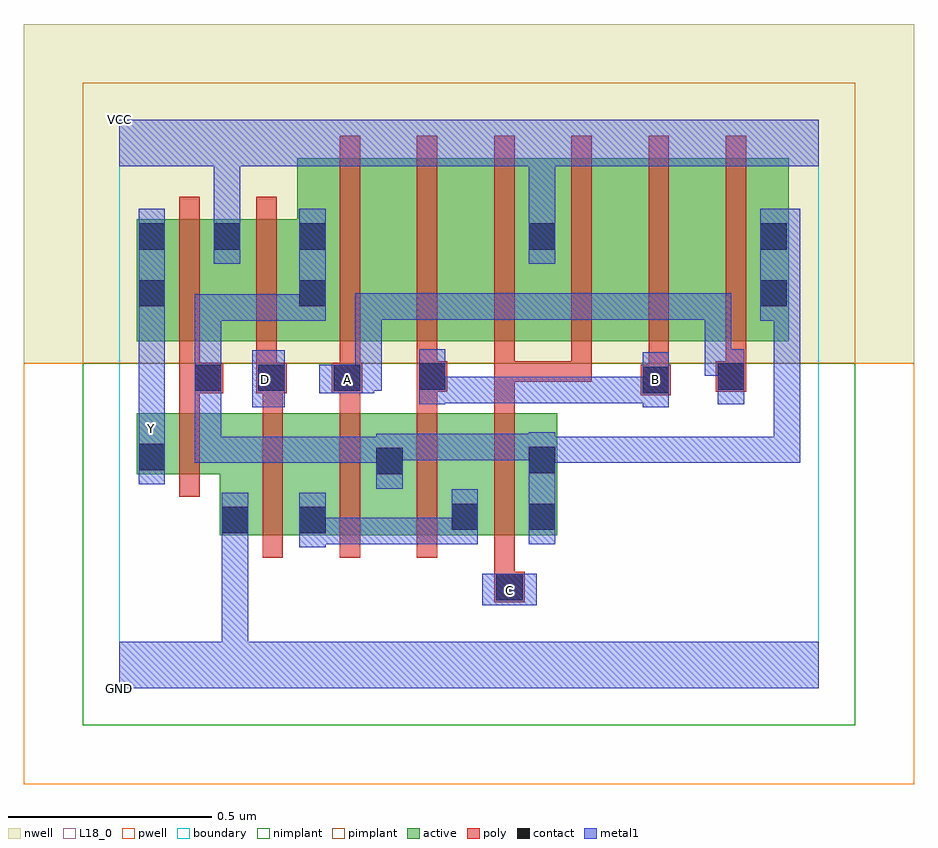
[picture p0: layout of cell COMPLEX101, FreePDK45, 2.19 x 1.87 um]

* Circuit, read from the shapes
.subckt COMPLEX101 A B C D GND VCC Y
M1 GND n1 Y VSUBS nfet w=0.15u l=0.05u
M2 n2 D GND VSUBS nfet w=0.3u l=0.05u
M3 n1 A n2 VSUBS nfet w=0.3u l=0.05u
M4 n2 B n1 VSUBS nfet w=0.3u l=0.05u
M5 n1 C n2 VSUBS nfet w=0.3u l=0.05u
M6 VCC n1 Y n3 pfet w=0.3u l=0.05u
M7 n1 D VCC n3 pfet w=0.3u l=0.05u
M8 n4 A n1 n3 pfet w=0.45u l=0.05u
M9 n5 B n4 n3 pfet w=0.45u l=0.05u
M10 VCC C n5 n3 pfet w=0.45u l=0.05u
M11 n6 C VCC n3 pfet w=0.45u l=0.05u
M12 n7 B n6 n3 pfet w=0.45u l=0.05u
M13 n1 A n7 n3 pfet w=0.45u l=0.05u
.ends

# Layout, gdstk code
import gdstk
lib = gdstk.Library(unit=1e-6, precision=1e-09)
def R(c, l, rs):  # rectangles x0, y0, x1, y1
    for r in rs: c.add(gdstk.rectangle(r[:2], r[2:], *l))
def A(c, l, x, y, w, h, nx, ny, dx, dy):  # array of equal rectangles
    R(c, l, [(x+i*dx, y+j*dy, x+i*dx+w, y+j*dy+h) for i in range(nx) for j in range(ny)])
active = (1, 0)
pwell = (2, 0)
nwell = (3, 0)
nimplant = (4, 0)
pimplant = (5, 0)
poly = (9, 0)
contact = (10, 0)
metal1 = (11, 0)
L18_0 = (18, 0)
boundary = (235, 0)

complex101 = lib.new_cell('COMPLEX101')
R(complex101, active, [(0.247,0.377,0.512,0.677), (0.247,0.377,0.322,0.677), (0.437,0.377,0.702,0.677), (0.437,0.377,0.512,0.547), (0.627,0.377,0.887,0.677), (0.812,0.377,1.077,0.677), (0.627,0.382,0.702,0.597), (0.812,0.385,0.887,0.547), (1.002,0.385,1.077,0.677), (0.042,0.527,0.322,0.677), (0.042,0.527,0.117,0.677), (0.042,0.855,0.302,1.155), (0.042,0.855,0.117,1.155), (0.227,0.855,0.512,1.155), (0.437,0.855,0.512,1.2), (0.437,0.855,0.662,1.305), (0.662,0.855,0.852,1.305), (0.852,0.855,1.077,1.305), (1.002,0.855,1.232,1.305), (1.232,0.855,1.422,1.305), (1.422,0.855,1.647,1.305), (1.572,0.855,1.647,1.2), (1.002,0.857,1.077,1.305), (0.227,1.007,0.302,1.155)])
R(complex101, pwell, [(-0.235,-0.235,1.955,0.8)])
R(complex101, nwell, [(-0.235,0.8,1.955,1.635)])
R(complex101, nimplant, [(-0.09,-0.09,1.81,0.8)])
R(complex101, pimplant, [(-0.09,0.8,1.81,1.49)])
A(complex101, poly, 0.352, 0.322, 0.05, 0.41, 4, 1, 0.19, 0)
A(complex101, poly, 0.732, 0.755, 0.05, 0.095, 3, 1, 0.19, 0)
A(complex101, poly, 0.542, 0.8, 0.05, 0.56, 6, 1, 0.19, 0)
R(complex101, poly, [(0.922,0.212,0.997,0.287), (0.922,0.237,0.972,0.372), (0.147,0.472,0.197,0.732), (0.147,0.682,0.197,0.777), (0.352,0.682,0.402,0.777), (0.542,0.682,0.592,0.777), (0.732,0.682,0.782,0.78), (0.922,0.682,0.972,0.805), (1.282,0.722,1.357,0.797), (0.147,0.727,0.255,0.802), (0.337,0.727,0.412,0.802), (0.522,0.727,0.597,0.802), (0.732,0.73,0.807,0.805), (1.467,0.73,1.542,0.805), (1.302,0.747,1.352,0.85), (0.147,0.752,0.197,0.85), (0.337,0.752,0.387,0.85), (0.542,0.752,0.592,0.85), (0.922,0.755,1.162,0.805), (0.922,0.755,0.972,0.805), (0.922,0.755,0.972,0.805), (0.922,0.755,0.972,0.805), (1.112,0.755,1.162,0.805), (1.492,0.755,1.542,0.85), (0.147,0.8,0.197,1.21), (0.337,0.8,0.387,1.21)])
R(complex101, contact, [(0.927,0.217,0.992,0.282), (0.252,0.382,0.317,0.447), (0.442,0.382,0.507,0.447), (0.817,0.39,0.882,0.455), (1.007,0.39,1.072,0.455), (0.632,0.527,0.697,0.592), (1.007,0.53,1.072,0.595), (0.047,0.537,0.112,0.602), (1.287,0.727,1.352,0.792), (0.185,0.732,0.25,0.797), (0.342,0.732,0.407,0.797), (0.527,0.732,0.592,0.797), (0.737,0.735,0.802,0.8), (1.472,0.735,1.537,0.8), (0.047,0.94,0.112,1.005), (0.442,0.94,0.507,1.005), (1.577,0.94,1.642,1.005), (0.047,1.08,0.112,1.145), (0.232,1.08,0.297,1.145), (0.442,1.08,0.507,1.145), (1.007,1.08,1.072,1.145), (1.577,1.08,1.642,1.145)])
R(complex101, metal1, [(0,0,1.72,0.115), (0.252,0.05,0.317,0.412), (0.892,0.205,1.027,0.282), (0.252,0.347,0.317,0.412), (0.252,0.347,0.317,0.412), (0.252,0.347,0.317,0.412), (0.252,0.347,0.317,0.412), (0.252,0.347,0.317,0.412), (0.252,0.347,0.317,0.412), (0.252,0.347,0.317,0.482), (0.442,0.347,0.507,0.482), (0.442,0.355,0.645,0.42), (0.58,0.355,0.645,0.42), (0.58,0.355,0.645,0.42), (0.58,0.355,0.645,0.42), (0.58,0.355,0.782,0.42), (0.717,0.355,0.782,0.42), (0.717,0.355,0.882,0.42), (0.817,0.355,0.882,0.49), (1.007,0.355,1.072,0.63), (0.632,0.492,0.697,0.627), (0.047,0.502,0.112,0.637), (0.185,0.555,0.25,0.62), (0.185,0.555,0.387,0.62), (0.185,0.555,0.25,0.762), (0.322,0.555,0.387,0.62), (0.322,0.555,0.387,0.62), (0.322,0.555,0.387,0.62), (0.322,0.555,0.557,0.62), (0.492,0.555,0.557,0.62), (0.492,0.555,0.697,0.62), (1.007,0.555,1.215,0.62), (1.15,0.555,1.215,0.62), (1.15,0.555,1.352,0.62), (1.287,0.555,1.352,0.62), (1.287,0.555,1.352,0.62), (1.287,0.555,1.352,0.62), (1.287,0.555,1.49,0.62), (1.425,0.555,1.49,0.62), (1.425,0.555,1.49,0.62), (1.425,0.555,1.49,0.62), (1.425,0.555,1.675,0.62), (1.61,0.555,1.675,0.97), (1.61,0.555,1.675,0.62), (1.61,0.555,1.675,0.62), (1.61,0.555,1.675,0.62), (0.632,0.562,0.782,0.627), (0.717,0.562,0.782,0.627), (0.717,0.562,0.935,0.627), (0.87,0.562,0.935,0.627), (0.87,0.562,1.072,0.627), (1.007,0.562,1.072,0.627), (1.007,0.562,1.072,0.627), (0.047,0.572,0.112,0.637), (0.047,0.572,0.112,0.707), (0.047,0.642,0.112,0.97), (0.327,0.692,0.407,0.832), (1.287,0.692,1.352,0.827), (0.185,0.697,0.25,0.762), (0.185,0.697,0.25,0.762), (0.185,0.697,0.25,0.832), (0.185,0.697,0.25,0.97), (0.737,0.7,0.802,0.835), (1.472,0.7,1.537,0.835), (0.737,0.702,0.835,0.767), (0.77,0.702,0.835,0.767), (0.77,0.702,1.072,0.767), (1.007,0.702,1.072,0.767), (1.007,0.702,1.072,0.767), (1.007,0.702,1.072,0.767), (1.007,0.702,1.215,0.767), (1.15,0.702,1.215,0.767), (1.15,0.702,1.352,0.767), (1.287,0.702,1.352,0.767), (1.287,0.702,1.352,0.767), (0.492,0.727,0.627,0.797), (0.562,0.732,0.645,0.797), (0.58,0.732,0.645,0.797), (0.58,0.732,0.645,0.972), (1.44,0.77,1.505,0.835), (1.44,0.77,1.537,0.835), (1.44,0.77,1.505,0.972), (0.047,0.905,0.112,1.18), (0.185,0.905,0.25,0.97), (0.185,0.905,0.42,0.97), (0.355,0.905,0.42,0.97), (0.355,0.905,0.507,0.97), (0.442,0.905,0.507,1.18), (1.577,0.905,1.675,1.18), (0.58,0.907,0.645,0.972), (0.58,0.907,0.82,0.972), (0.755,0.907,0.82,0.972), (0.755,0.907,0.935,0.972), (0.87,0.907,0.935,0.972), (0.87,0.907,1.072,0.972), (1.007,0.907,1.072,0.972), (1.007,0.907,1.072,0.972), (1.007,0.907,1.072,0.972), (1.007,0.907,1.21,0.972), (1.145,0.907,1.21,0.972), (1.145,0.907,1.21,0.972), (1.145,0.907,1.21,0.972), (1.145,0.907,1.352,0.972), (1.287,0.907,1.352,0.972), (1.287,0.907,1.505,0.972), (1.44,0.907,1.505,0.972), (0.232,1.045,0.297,1.18), (1.007,1.045,1.072,1.18), (0.232,1.115,0.297,1.35), (1.007,1.115,1.072,1.35), (0,1.285,1.72,1.4), (0.232,1.285,0.297,1.35), (0.232,1.285,0.297,1.35)])
R(complex101, L18_0, [(0,0,1.72,0.115), (0.252,0.05,0.317,0.412), (0.892,0.205,1.027,0.282), (0.927,0.207,0.992,0.272), (0.252,0.347,0.317,0.482), (0.252,0.347,0.317,0.412), (0.252,0.347,0.317,0.412), (0.252,0.347,0.317,0.412), (0.252,0.347,0.317,0.412), (0.252,0.347,0.317,0.412), (0.252,0.347,0.317,0.412), (0.047,0.502,0.112,0.637), (0.047,0.572,0.112,0.707), (0.047,0.572,0.112,0.637), (0.047,0.607,0.112,0.672), (0.047,0.642,0.112,0.97), (0.327,0.692,0.407,0.832), (1.287,0.692,1.352,0.827), (0.737,0.7,0.802,0.835), (1.472,0.7,1.537,0.835), (0.737,0.702,0.835,0.767), (0.77,0.702,0.835,0.767), (0.77,0.702,1.072,0.767), (1.007,0.702,1.072,0.767), (1.007,0.702,1.072,0.767), (1.007,0.702,1.072,0.767), (1.007,0.702,1.215,0.767), (1.15,0.702,1.215,0.767), (1.15,0.702,1.352,0.767), (1.287,0.702,1.352,0.767), (1.287,0.702,1.352,0.767), (0.327,0.727,0.392,0.792), (0.492,0.727,0.627,0.797), (0.527,0.727,0.592,0.792), (1.287,0.727,1.352,0.792), (0.562,0.732,0.645,0.797), (0.58,0.732,0.645,0.797), (0.58,0.732,0.645,0.972), (1.44,0.77,1.505,0.835), (1.44,0.77,1.505,0.972), (1.44,0.77,1.537,0.835), (0.047,0.905,0.112,1.18), (0.58,0.907,0.645,0.972), (0.58,0.907,0.82,0.972), (0.755,0.907,0.82,0.972), (0.755,0.907,0.935,0.972), (0.87,0.907,0.935,0.972), (0.87,0.907,1.072,0.972), (1.007,0.907,1.072,0.972), (1.007,0.907,1.072,0.972), (1.007,0.907,1.072,0.972), (1.007,0.907,1.21,0.972), (1.145,0.907,1.21,0.972), (1.145,0.907,1.21,0.972), (1.145,0.907,1.21,0.972), (1.145,0.907,1.352,0.972), (1.287,0.907,1.352,0.972), (1.287,0.907,1.505,0.972), (1.44,0.907,1.505,0.972), (0.232,1.045,0.297,1.18), (1.007,1.045,1.072,1.18), (0.232,1.115,0.297,1.35), (1.007,1.115,1.072,1.35), (0,1.285,1.72,1.4), (0.232,1.285,0.297,1.35), (0.232,1.285,0.297,1.35)])
R(complex101, boundary, [(0,0,1.72,1.4)])
complex101.add(gdstk.Label('A', (0.56,0.76), layer=11, texttype=0))
complex101.add(gdstk.Label('B', (1.32,0.76), layer=11, texttype=0))
complex101.add(gdstk.Label('C', (0.96,0.24), layer=11, texttype=0))
complex101.add(gdstk.Label('D', (0.36,0.76), layer=11, texttype=0))
complex101.add(gdstk.Label('Y', (0.08,0.64), layer=11, texttype=0))
complex101.add(gdstk.Label('VCC', (0,1.4), layer=11, texttype=0))
complex101.add(gdstk.Label('GND', (0,0), layer=11, texttype=0))

lib.write_gds('COMPLEX101.gds')
